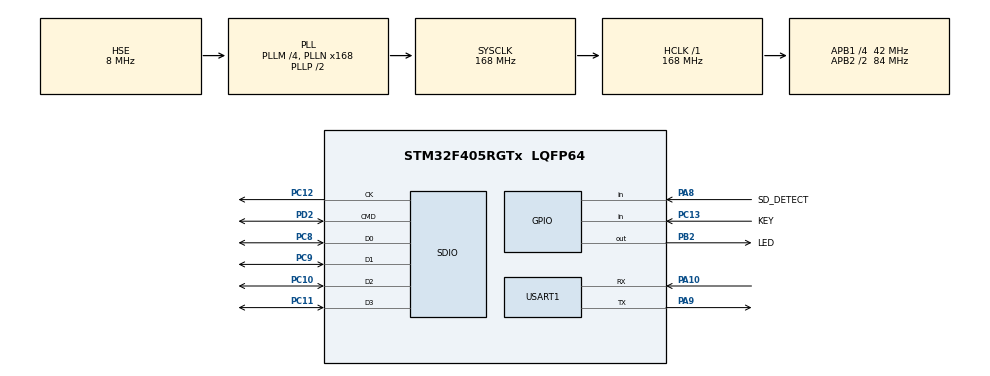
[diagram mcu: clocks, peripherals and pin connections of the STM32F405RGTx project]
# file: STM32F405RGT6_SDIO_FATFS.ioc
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Mcu.Family=STM32F4
Mcu.Name=STM32F405RGTx
Mcu.Package=LQFP64
NVIC.PriorityGroup=NVIC_PRIORITYGROUP_4
NVIC.SDIO_IRQn=true\:0\:0\:false\:false\:true\:true\:true\:true
NVIC.TIM6_DAC_IRQn=true\:15\:0\:false\:false\:true\:false\:true\:true
NVIC.TimeBase=TIM6_DAC_IRQn
NVIC.TimeBaseIP=TIM6
PA10.Mode=Asynchronous
PA10.Signal=USART1_RX
PA13.Mode=Serial_Wire
PA13.Signal=SYS_JTMS-SWDIO
PA14.Mode=Serial_Wire
PA14.Signal=SYS_JTCK-SWCLK
PA8.GPIO_Label=SD_DETECT
PA8.Signal=GPIO_Input
PA9.Mode=Asynchronous
PA9.Signal=USART1_TX
PB2.GPIO_Label=LED
PB2.GPIO_PuPd=GPIO_PULLDOWN
PB2.Signal=GPIO_Output
PC10.GPIO_PuPd=GPIO_PULLUP
PC10.Mode=SD_4_bits_Wide_bus
PC10.Signal=SDIO_D2
PC11.GPIO_PuPd=GPIO_PULLUP
PC11.Mode=SD_4_bits_Wide_bus
PC11.Signal=SDIO_D3
PC12.GPIO_PuPd=GPIO_PULLUP
PC12.Mode=SD_4_bits_Wide_bus
PC12.Signal=SDIO_CK
PC13-ANTI_TAMP.GPIO_Label=KEY
PC13-ANTI_TAMP.GPIO_PuPd=GPIO_PULLDOWN
PC13-ANTI_TAMP.Signal=GPIO_Input
PC14-OSC32_IN.Mode=LSE-External-Oscillator
PC14-OSC32_IN.Signal=RCC_OSC32_IN
PC15-OSC32_OUT.Mode=LSE-External-Oscillator
PC15-OSC32_OUT.Signal=RCC_OSC32_OUT
PC8.GPIO_PuPd=GPIO_PULLUP
PC8.Mode=SD_4_bits_Wide_bus
PC8.Signal=SDIO_D0
PC9.GPIO_PuPd=GPIO_PULLUP
PC9.Mode=SD_4_bits_Wide_bus
PC9.Signal=SDIO_D1
PD2.GPIO_PuPd=GPIO_PULLUP
PD2.Mode=SD_4_bits_Wide_bus
PD2.Signal=SDIO_CMD
PH0-OSC_IN.Mode=HSE-External-Oscillator
PH0-OSC_IN.Signal=RCC_OSC_IN
PH1-OSC_OUT.Mode=HSE-External-Oscillator
PH1-OSC_OUT.Signal=RCC_OSC_OUT
ProjectManager.HeapSize=0x200
ProjectManager.StackSize=0x400
ProjectManager.TargetToolchain=Makefile
RCC.48MHZClocksFreq_Value=48000000
RCC.AHBFreq_Value=168000000
RCC.APB1CLKDivider=RCC_HCLK_DIV4
RCC.APB1Freq_Value=42000000
RCC.APB1TimFreq_Value=84000000
RCC.APB2CLKDivider=RCC_HCLK_DIV2
RCC.APB2Freq_Value=84000000
RCC.APB2TimFreq_Value=168000000
RCC.CortexFreq_Value=168000000
RCC.HCLKFreq_Value=168000000
RCC.HSE_VALUE=8000000
RCC.HSI_VALUE=16000000
RCC.PLLM=4
RCC.PLLN=168
RCC.PLLQ=7
RCC.PLLSourceVirtual=RCC_PLLSOURCE_HSE
RCC.SYSCLKFreq_VALUE=168000000
RCC.SYSCLKSource=RCC_SYSCLKSOURCE_PLLCLK
RCC.VCOOutputFreq_Value=336000000
SDIO.ClockDiv=10
SDIO.HardwareFlowControl=SDIO_HARDWARE_FLOW_CONTROL_ENABLE
USART1.VirtualMode=VM_ASYNC
VP_SYS_VS_tim6.Mode=TIM6
board=custom

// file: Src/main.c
/* USER CODE BEGIN Header */
/**
  ******************************************************************************
  * @file           : main.c
  * @brief          : Main program body
  ******************************************************************************
  * @attention
  *
  * Copyright (c) 2023 STMicroelectronics.
  * All rights reserved.
  *
  * This software is licensed under terms that can be found in the LICENSE file
  * in the root directory of this software component.
  * If no LICENSE file comes with this software, it is provided AS-IS.
  *
  ******************************************************************************
  */
/* USER CODE END Header */
#include "main.h"
#include "sdio.h"
#include "usart.h"
#include "gpio.h"

/* USER CODE BEGIN Includes */
#include <stdio.h>
#include "ff.h"
/* USER CODE END Includes */

/* USER CODE BEGIN PV */
HAL_SD_CardInfoTypeDef card_info;
FATFS FatFs;
/* USER CODE END PV */

void SystemClock_Config(void);
/* USER CODE BEGIN PFP */
void SystemClock_HSIConfig(void);
/* USER CODE END PFP */

/* USER CODE BEGIN 0 */
int _write(int fd, char *ch, int len)
{
    HAL_UART_Transmit(&huart1, (uint8_t *)ch, len, HAL_MAX_DELAY);
    return len;
}
/* USER CODE END 0 */

int main(void)
{

  /* MCU Configuration--------------------------------------------------------*/

  /* Reset of all peripherals, Initializes the Flash interface and the Systick. */
  HAL_Init();

  /* USER CODE BEGIN Init */
  SystemClock_HSIConfig();
  /* USER CODE END Init */

  /* Configure the system clock */
  SystemClock_Config();

  /* Initialize all configured peripherals */
  MX_GPIO_Init();
  MX_SDIO_SD_Init();
  MX_USART1_UART_Init();
  /* USER CODE BEGIN 2 */

  FIL fil;
  uint8_t workbuf[4096];
  char line[100];
  FRESULT fr;

  fr = f_mount(&FatFs, "", 0);
  if(fr) {
      Error_Handler();
  }

  fr = f_mkdir("foo");
  if(fr) {
      printf("Error with making directory foo\r\n");
      Error_Handler();
  }

  fr = f_mkdir("foo/bar/");
  if(fr) {
      printf("Error with making directory foo/bar\r\n");
      Error_Handler();
  }

  fr = f_open(&fil, "test2.txt", FA_CREATE_ALWAYS | FA_WRITE);
  if(fr) {
      Error_Handler();
  }

  f_puts("Hello from STM32F405RGT6\r\n", &fil);
  f_close(&fil);
  f_sync(&fil);
  /* USER CODE END 2 */

  /* Infinite loop */
  while (1)
  {

    /* USER CODE BEGIN 3 */
      HAL_GPIO_TogglePin(LED_GPIO_Port, LED_Pin);
      HAL_Delay(1000);
  }
  /* USER CODE END 3 */
}

void SystemClock_Config(void)
{
  RCC_OscInitTypeDef RCC_OscInitStruct = {0};
  RCC_ClkInitTypeDef RCC_ClkInitStruct = {0};

  /** Configure the main internal regulator output voltage
  */
  __HAL_RCC_PWR_CLK_ENABLE();
  __HAL_PWR_VOLTAGESCALING_CONFIG(PWR_REGULATOR_VOLTAGE_SCALE1);

  /** Initializes the RCC Oscillators according to the specified parameters
  * in the RCC_OscInitTypeDef structure.
  */
  RCC_OscInitStruct.OscillatorType = RCC_OSCILLATORTYPE_HSE;
  RCC_OscInitStruct.HSEState = RCC_HSE_ON;
  RCC_OscInitStruct.PLL.PLLState = RCC_PLL_ON;
  RCC_OscInitStruct.PLL.PLLSource = RCC_PLLSOURCE_HSE;
  RCC_OscInitStruct.PLL.PLLM = 4;
  RCC_OscInitStruct.PLL.PLLN = 168;
  RCC_OscInitStruct.PLL.PLLP = RCC_PLLP_DIV2;
  RCC_OscInitStruct.PLL.PLLQ = 7;
  if (HAL_RCC_OscConfig(&RCC_OscInitStruct) != HAL_OK)
  {
    Error_Handler();
  }

  /** Initializes the CPU, AHB and APB buses clocks
  */
  RCC_ClkInitStruct.ClockType = RCC_CLOCKTYPE_HCLK|RCC_CLOCKTYPE_SYSCLK
                              |RCC_CLOCKTYPE_PCLK1|RCC_CLOCKTYPE_PCLK2;
  RCC_ClkInitStruct.SYSCLKSource = RCC_SYSCLKSOURCE_PLLCLK;
  RCC_ClkInitStruct.AHBCLKDivider = RCC_SYSCLK_DIV1;
  RCC_ClkInitStruct.APB1CLKDivider = RCC_HCLK_DIV4;
  RCC_ClkInitStruct.APB2CLKDivider = RCC_HCLK_DIV2;

  if (HAL_RCC_ClockConfig(&RCC_ClkInitStruct, FLASH_LATENCY_5) != HAL_OK)
  {
    Error_Handler();
  }
}

/* USER CODE BEGIN 4 */
void SystemClock_HSIConfig(void)
{
    RCC_ClkInitTypeDef RCC_ClkInitStruct = {0};

    RCC_ClkInitStruct.ClockType = RCC_CLOCKTYPE_SYSCLK;
    RCC_ClkInitStruct.SYSCLKSource = RCC_SYSCLKSOURCE_HSI;
    if (HAL_RCC_ClockConfig(&RCC_ClkInitStruct, FLASH_LATENCY_5) != HAL_OK)
    {
        Error_Handler();
    }
}
/* USER CODE END 4 */

void HAL_TIM_PeriodElapsedCallback(TIM_HandleTypeDef *htim)
{
  if (htim->Instance == TIM6) {
    HAL_IncTick();
  }
}

void Error_Handler(void)
{
  __disable_irq();
  while (1)
  {
  }
}
